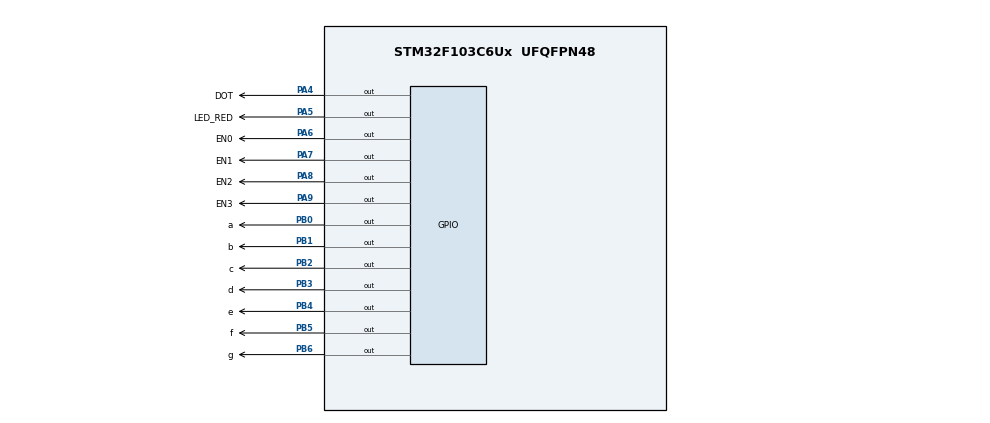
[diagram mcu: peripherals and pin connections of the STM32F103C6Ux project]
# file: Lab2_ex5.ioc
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Mcu.Family=STM32F1
Mcu.Name=STM32F103C6Ux
Mcu.Package=UFQFPN48
NVIC.PriorityGroup=NVIC_PRIORITYGROUP_4
NVIC.TIM2_IRQn=true\:0\:0\:false\:false\:true\:true\:true
PA4.GPIO_Label=DOT
PA4.Signal=GPIO_Output
PA5.GPIO_Label=LED_RED
PA5.Signal=GPIO_Output
PA6.GPIO_Label=EN0
PA6.Signal=GPIO_Output
PA7.GPIO_Label=EN1
PA7.Signal=GPIO_Output
PA8.GPIO_Label=EN2
PA8.Signal=GPIO_Output
PA9.GPIO_Label=EN3
PA9.Signal=GPIO_Output
PB0.GPIO_Label=a
PB0.Signal=GPIO_Output
PB1.GPIO_Label=b
PB1.Signal=GPIO_Output
PB2.GPIO_Label=c
PB2.Signal=GPIO_Output
PB3.GPIO_Label=d
PB3.Signal=GPIO_Output
PB4.GPIO_Label=e
PB4.Signal=GPIO_Output
PB5.GPIO_Label=f
PB5.Signal=GPIO_Output
PB6.GPIO_Label=g
PB6.Signal=GPIO_Output
ProjectManager.HeapSize=0x200
ProjectManager.StackSize=0x400
ProjectManager.TargetToolchain=STM32CubeIDE
RCC.APB1Freq_Value=8000000
RCC.APB2Freq_Value=8000000
TIM2.Period=9
TIM2.Prescaler=7999
VP_SYS_VS_ND.Mode=No_Debug
VP_TIM2_VS_ClockSourceINT.Mode=Internal
board=custom

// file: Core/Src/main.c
/* USER CODE BEGIN Header */
/**
  ******************************************************************************
  * @file           : main.c
  * @brief          : Main program body
  ******************************************************************************
  * @attention
  *
  * <h2><center>&copy; Copyright (c) 2024 STMicroelectronics.
  * All rights reserved.</center></h2>
  *
  * This software component is licensed by ST under BSD 3-Clause license,
  * the "License"; You may not use this file except in compliance with the
  * License. You may obtain a copy of the License at:
  *                        opensource.org/licenses/BSD-3-Clause
  *
  ******************************************************************************
  */
/* USER CODE END Header */
#include "main.h"

TIM_HandleTypeDef htim2;

void SystemClock_Config(void);
static void MX_GPIO_Init(void);
static void MX_TIM2_Init(void);

/* USER CODE BEGIN 0 */
void display7SEG(int num)
{

    if (num == 1)
    {
        HAL_GPIO_WritePin(a_GPIO_Port, a_Pin, GPIO_PIN_SET);
        HAL_GPIO_WritePin(b_GPIO_Port, b_Pin, GPIO_PIN_RESET);
        HAL_GPIO_WritePin(c_GPIO_Port, c_Pin, GPIO_PIN_RESET);
        HAL_GPIO_WritePin(d_GPIO_Port, d_Pin, GPIO_PIN_SET);
        HAL_GPIO_WritePin(e_GPIO_Port, e_Pin, GPIO_PIN_SET);
        HAL_GPIO_WritePin(f_GPIO_Port, f_Pin, GPIO_PIN_SET);
        HAL_GPIO_WritePin(g_GPIO_Port, g_Pin, GPIO_PIN_SET);
    }

    else if (num == 2)
    {
        HAL_GPIO_WritePin(a_GPIO_Port, a_Pin, GPIO_PIN_RESET);
        HAL_GPIO_WritePin(b_GPIO_Port, b_Pin, GPIO_PIN_RESET);
        HAL_GPIO_WritePin(c_GPIO_Port, c_Pin, GPIO_PIN_SET);
        HAL_GPIO_WritePin(d_GPIO_Port, d_Pin, GPIO_PIN_RESET);
        HAL_GPIO_WritePin(e_GPIO_Port, e_Pin, GPIO_PIN_RESET);
        HAL_GPIO_WritePin(f_GPIO_Port, f_Pin, GPIO_PIN_SET);
        HAL_GPIO_WritePin(g_GPIO_Port, g_Pin, GPIO_PIN_RESET);
    }

    else if (num == 3)
    {
        HAL_GPIO_WritePin(a_GPIO_Port, a_Pin, GPIO_PIN_RESET);
        HAL_GPIO_WritePin(b_GPIO_Port, b_Pin, GPIO_PIN_RESET);
        HAL_GPIO_WritePin(c_GPIO_Port, c_Pin, GPIO_PIN_RESET);
        HAL_GPIO_WritePin(d_GPIO_Port, d_Pin, GPIO_PIN_RESET);
        HAL_GPIO_WritePin(e_GPIO_Port, e_Pin, GPIO_PIN_SET);
        HAL_GPIO_WritePin(f_GPIO_Port, f_Pin, GPIO_PIN_SET);
        HAL_GPIO_WritePin(g_GPIO_Port, g_Pin, GPIO_PIN_RESET);
    }

    else if (num == 4)
    {
        HAL_GPIO_WritePin(a_GPIO_Port, a_Pin, GPIO_PIN_SET);
        HAL_GPIO_WritePin(b_GPIO_Port, b_Pin, GPIO_PIN_RESET);
        HAL_GPIO_WritePin(c_GPIO_Port, c_Pin, GPIO_PIN_RESET);
        HAL_GPIO_WritePin(d_GPIO_Port, d_Pin, GPIO_PIN_SET);
        HAL_GPIO_WritePin(e_GPIO_Port, e_Pin, GPIO_PIN_SET);
        HAL_GPIO_WritePin(f_GPIO_Port, f_Pin, GPIO_PIN_RESET);
        HAL_GPIO_WritePin(g_GPIO_Port, g_Pin, GPIO_PIN_RESET);
    }

    else if (num == 5)
    {
        HAL_GPIO_WritePin(a_GPIO_Port, a_Pin, GPIO_PIN_RESET);
        HAL_GPIO_WritePin(b_GPIO_Port, b_Pin, GPIO_PIN_SET);
        HAL_GPIO_WritePin(c_GPIO_Port, c_Pin, GPIO_PIN_RESET);
        HAL_GPIO_WritePin(d_GPIO_Port, d_Pin, GPIO_PIN_RESET);
        HAL_GPIO_WritePin(e_GPIO_Port, e_Pin, GPIO_PIN_SET);
        HAL_GPIO_WritePin(f_GPIO_Port, f_Pin, GPIO_PIN_RESET);
        HAL_GPIO_WritePin(g_GPIO_Port, g_Pin, GPIO_PIN_RESET);
    }

    else if (num == 6)
    {
        HAL_GPIO_WritePin(a_GPIO_Port, a_Pin, GPIO_PIN_RESET);
        HAL_GPIO_WritePin(b_GPIO_Port, b_Pin, GPIO_PIN_SET);
        HAL_GPIO_WritePin(c_GPIO_Port, c_Pin, GPIO_PIN_RESET);
        HAL_GPIO_WritePin(d_GPIO_Port, d_Pin, GPIO_PIN_RESET);
        HAL_GPIO_WritePin(e_GPIO_Port, e_Pin, GPIO_PIN_RESET);
        HAL_GPIO_WritePin(f_GPIO_Port, f_Pin, GPIO_PIN_RESET);
        HAL_GPIO_WritePin(g_GPIO_Port, g_Pin, GPIO_PIN_RESET);
    }

    else if (num == 7)
    {
        HAL_GPIO_WritePin(a_GPIO_Port, a_Pin, GPIO_PIN_RESET);
        HAL_GPIO_WritePin(b_GPIO_Port, b_Pin, GPIO_PIN_RESET);
        HAL_GPIO_WritePin(c_GPIO_Port, c_Pin, GPIO_PIN_RESET);
        HAL_GPIO_WritePin(d_GPIO_Port, d_Pin, GPIO_PIN_SET);
        HAL_GPIO_WritePin(e_GPIO_Port, e_Pin, GPIO_PIN_SET);
        HAL_GPIO_WritePin(f_GPIO_Port, f_Pin, GPIO_PIN_SET);
        HAL_GPIO_WritePin(g_GPIO_Port, g_Pin, GPIO_PIN_SET);
    }

    else if (num == 8)
    {
        HAL_GPIO_WritePin(a_GPIO_Port, a_Pin, GPIO_PIN_RESET);
        HAL_GPIO_WritePin(b_GPIO_Port, b_Pin, GPIO_PIN_RESET);
        HAL_GPIO_WritePin(c_GPIO_Port, c_Pin, GPIO_PIN_RESET);
        HAL_GPIO_WritePin(d_GPIO_Port, d_Pin, GPIO_PIN_RESET);
        HAL_GPIO_WritePin(e_GPIO_Port, e_Pin, GPIO_PIN_RESET);
        HAL_GPIO_WritePin(f_GPIO_Port, f_Pin, GPIO_PIN_RESET);
        HAL_GPIO_WritePin(g_GPIO_Port, g_Pin, GPIO_PIN_RESET);
    }

    else if (num == 9)
    {
        HAL_GPIO_WritePin(a_GPIO_Port, a_Pin, GPIO_PIN_RESET);
        HAL_GPIO_WritePin(b_GPIO_Port, b_Pin, GPIO_PIN_RESET);
        HAL_GPIO_WritePin(c_GPIO_Port, c_Pin, GPIO_PIN_RESET);
        HAL_GPIO_WritePin(d_GPIO_Port, d_Pin, GPIO_PIN_RESET);
        HAL_GPIO_WritePin(e_GPIO_Port, e_Pin, GPIO_PIN_SET);
        HAL_GPIO_WritePin(f_GPIO_Port, f_Pin, GPIO_PIN_RESET);
        HAL_GPIO_WritePin(g_GPIO_Port, g_Pin, GPIO_PIN_RESET);
    }
    else if (num == 0)
    {
        HAL_GPIO_WritePin(a_GPIO_Port, a_Pin, GPIO_PIN_RESET);
        HAL_GPIO_WritePin(b_GPIO_Port, b_Pin, GPIO_PIN_RESET);
        HAL_GPIO_WritePin(c_GPIO_Port, c_Pin, GPIO_PIN_RESET);
        HAL_GPIO_WritePin(d_GPIO_Port, d_Pin, GPIO_PIN_RESET);
        HAL_GPIO_WritePin(e_GPIO_Port, e_Pin, GPIO_PIN_RESET);
        HAL_GPIO_WritePin(f_GPIO_Port, f_Pin, GPIO_PIN_RESET);
        HAL_GPIO_WritePin(g_GPIO_Port, g_Pin, GPIO_PIN_SET);
    }
}
//Ex Code Begin
// Khai báo biến cho Software Timer
int timer0_counter = 0;
int timer0_flag = 0;
int timer1_counter = 0;
int timer1_flag = 0;
int TIMER_CYCLE = 10;

// Khởi tạo timer0 để điều khiển LED
void setTimer0(int duration) {
    timer0_counter = duration / TIMER_CYCLE;
    timer0_flag = 0;
}
void timer_run0() {
    if (timer0_counter > 0) {
        timer0_counter--;
        if (timer0_counter == 0) timer0_flag = 1;
    }
}

// Khởi tạo timer1 để cập nhật giá trị giờ, phút, giây và chấm DOT
void setTimer1(int duration) {
    timer1_counter = duration / TIMER_CYCLE;
    timer1_flag = 0;
}
void timer_run1() {
    if (timer1_counter > 0) {
        timer1_counter--;
        if (timer1_counter == 0) timer1_flag = 1;
    }
}
/* USER CODE END 0 */
//Ex5
#define MAX_LED 4
int led_buffer[MAX_LED] = {0, 0, 0, 0}; // Array to hold the values to be displayed

int hour = 7, minute = 8, second = 50; // Declare hour, minute, second globally

void updateClockBuffer() {
    led_buffer[0] = hour / 10;    // Tens digit of hour
    led_buffer[1] = hour % 10;    // Units digit of hour
    led_buffer[2] = minute / 10;  // Tens digit of minute
    led_buffer[3] = minute % 10;  // Units digit of minute
}

int index_led = 0;
void update7SEG ( int index )
{
	switch ( index )
	{
		case 0:
			HAL_GPIO_WritePin ( EN0_GPIO_Port , EN0_Pin ,GPIO_PIN_RESET );
			HAL_GPIO_WritePin ( EN1_GPIO_Port , EN1_Pin ,GPIO_PIN_SET );
			HAL_GPIO_WritePin ( EN2_GPIO_Port , EN2_Pin ,GPIO_PIN_SET );
			HAL_GPIO_WritePin ( EN3_GPIO_Port , EN3_Pin ,GPIO_PIN_SET );
			display7SEG(led_buffer [0]);
			break;
		case 1:
			HAL_GPIO_WritePin ( EN0_GPIO_Port , EN0_Pin ,GPIO_PIN_SET );
			HAL_GPIO_WritePin ( EN1_GPIO_Port , EN1_Pin ,GPIO_PIN_RESET );
			HAL_GPIO_WritePin ( EN2_GPIO_Port , EN2_Pin ,GPIO_PIN_SET );
			HAL_GPIO_WritePin ( EN3_GPIO_Port , EN3_Pin ,GPIO_PIN_SET );
			display7SEG(led_buffer [1]);
			break;
		case 2:
			HAL_GPIO_WritePin ( EN0_GPIO_Port , EN0_Pin ,GPIO_PIN_SET );
			HAL_GPIO_WritePin ( EN1_GPIO_Port , EN1_Pin ,GPIO_PIN_SET );
			HAL_GPIO_WritePin ( EN2_GPIO_Port , EN2_Pin ,GPIO_PIN_RESET );
			HAL_GPIO_WritePin ( EN3_GPIO_Port , EN3_Pin ,GPIO_PIN_SET );
			display7SEG(led_buffer [2]);
			break;
		case 3:
			HAL_GPIO_WritePin ( EN0_GPIO_Port , EN0_Pin ,GPIO_PIN_SET );
			HAL_GPIO_WritePin ( EN1_GPIO_Port , EN1_Pin ,GPIO_PIN_SET );
			HAL_GPIO_WritePin ( EN2_GPIO_Port , EN2_Pin ,GPIO_PIN_SET );
			HAL_GPIO_WritePin ( EN3_GPIO_Port , EN3_Pin ,GPIO_PIN_RESET );
			display7SEG(led_buffer [3]);
			break;
	}
}

int main(void)
{

  /* MCU Configuration--------------------------------------------------------*/

  /* Reset of all peripherals, Initializes the Flash interface and the Systick. */
  HAL_Init();

  /* Configure the system clock */
  SystemClock_Config();

  /* Initialize all configured peripherals */
  MX_GPIO_Init();
  MX_TIM2_Init();
  HAL_TIM_Base_Start_IT(&htim2);
  /* Infinite loop */
  /* USER CODE BEGIN WHILE */
  setTimer0(1000);
  setTimer1(250);  // 1 giây để cập nhật đồng hồ
  while (1)
  {
	  //CODE EX5 BEGIN
      // Xử lý cho timer1 - cập nhật giá trị giờ, phút, giây và DOT
      if (timer1_flag == 1) {
	  second++;
		      if (second >= 60) {
		          second = 0;
		          minute++;
		      }
		      if (minute >= 60) {
		          minute = 0;
		          hour++;
		      }
		      if (hour >= 24) {
		          hour = 0;
		      }
		      updateClockBuffer();
		      HAL_GPIO_TogglePin(DOT_GPIO_Port, DOT_Pin);
		      // Cập nhật LED 7 đoạn hiện tại
		      update7SEG(index_led);
		          index_led++;
		          if (index_led >= MAX_LED) {
		              index_led = 0;  // Quay lại LED đầu tiên
		      }
		          setTimer1(250);
		      }

    /* USER CODE END WHILE */
	    if (timer0_flag == 1) {
	        HAL_GPIO_TogglePin(LED_RED_GPIO_Port, LED_RED_Pin);
	        setTimer0(1000);
	    }
  }
}
/* USER CODE BEGIN 4 */
void HAL_TIM_PeriodElapsedCallback(TIM_HandleTypeDef *htim) {
    timer_run0();  // Đếm thời gian cho timer0
    timer_run1();  // Đếm thời gian cho timer1
}
 /* USER CODE END 4 */
void SystemClock_Config(void)
{
  RCC_OscInitTypeDef RCC_OscInitStruct = {0};
  RCC_ClkInitTypeDef RCC_ClkInitStruct = {0};

  /** Initializes the RCC Oscillators according to the specified parameters
  * in the RCC_OscInitTypeDef structure.
  */
  RCC_OscInitStruct.OscillatorType = RCC_OSCILLATORTYPE_HSI;
  RCC_OscInitStruct.HSIState = RCC_HSI_ON;
  RCC_OscInitStruct.HSICalibrationValue = RCC_HSICALIBRATION_DEFAULT;
  RCC_OscInitStruct.PLL.PLLState = RCC_PLL_NONE;
  if (HAL_RCC_OscConfig(&RCC_OscInitStruct) != HAL_OK)
  {
    Error_Handler();
  }
  /** Initializes the CPU, AHB and APB buses clocks
  */
  RCC_ClkInitStruct.ClockType = RCC_CLOCKTYPE_HCLK|RCC_CLOCKTYPE_SYSCLK
                              |RCC_CLOCKTYPE_PCLK1|RCC_CLOCKTYPE_PCLK2;
  RCC_ClkInitStruct.SYSCLKSource = RCC_SYSCLKSOURCE_HSI;
  RCC_ClkInitStruct.AHBCLKDivider = RCC_SYSCLK_DIV1;
  RCC_ClkInitStruct.APB1CLKDivider = RCC_HCLK_DIV1;
  RCC_ClkInitStruct.APB2CLKDivider = RCC_HCLK_DIV1;

  if (HAL_RCC_ClockConfig(&RCC_ClkInitStruct, FLASH_LATENCY_0) != HAL_OK)
  {
    Error_Handler();
  }
}

static void MX_TIM2_Init(void)
{

  TIM_ClockConfigTypeDef sClockSourceConfig = {0};
  TIM_MasterConfigTypeDef sMasterConfig = {0};

  htim2.Instance = TIM2;
  htim2.Init.Prescaler = 7999;
  htim2.Init.CounterMode = TIM_COUNTERMODE_UP;
  htim2.Init.Period = 9;
  htim2.Init.ClockDivision = TIM_CLOCKDIVISION_DIV1;
  htim2.Init.AutoReloadPreload = TIM_AUTORELOAD_PRELOAD_DISABLE;
  if (HAL_TIM_Base_Init(&htim2) != HAL_OK)
  {
    Error_Handler();
  }
  sClockSourceConfig.ClockSource = TIM_CLOCKSOURCE_INTERNAL;
  if (HAL_TIM_ConfigClockSource(&htim2, &sClockSourceConfig) != HAL_OK)
  {
    Error_Handler();
  }
  sMasterConfig.MasterOutputTrigger = TIM_TRGO_RESET;
  sMasterConfig.MasterSlaveMode = TIM_MASTERSLAVEMODE_DISABLE;
  if (HAL_TIMEx_MasterConfigSynchronization(&htim2, &sMasterConfig) != HAL_OK)
  {
    Error_Handler();
  }

}

static void MX_GPIO_Init(void)
{
  GPIO_InitTypeDef GPIO_InitStruct = {0};

  /* GPIO Ports Clock Enable */
  __HAL_RCC_GPIOA_CLK_ENABLE();
  __HAL_RCC_GPIOB_CLK_ENABLE();

  /*Configure GPIO pin Output Level */
  HAL_GPIO_WritePin(GPIOA, DOT_Pin|LED_RED_Pin|EN0_Pin|EN1_Pin
                          |EN2_Pin|EN3_Pin, GPIO_PIN_RESET);

  /*Configure GPIO pin Output Level */
  HAL_GPIO_WritePin(GPIOB, a_Pin|b_Pin|c_Pin|d_Pin
                          |e_Pin|f_Pin|g_Pin, GPIO_PIN_RESET);

  /*Configure GPIO pins : DOT_Pin LED_RED_Pin EN0_Pin EN1_Pin
                           EN2_Pin EN3_Pin */
  GPIO_InitStruct.Pin = DOT_Pin|LED_RED_Pin|EN0_Pin|EN1_Pin
                          |EN2_Pin|EN3_Pin;
  GPIO_InitStruct.Mode = GPIO_MODE_OUTPUT_PP;
  GPIO_InitStruct.Pull = GPIO_NOPULL;
  GPIO_InitStruct.Speed = GPIO_SPEED_FREQ_LOW;
  HAL_GPIO_Init(GPIOA, &GPIO_InitStruct);

  /*Configure GPIO pins : a_Pin b_Pin c_Pin d_Pin
                           e_Pin f_Pin g_Pin */
  GPIO_InitStruct.Pin = a_Pin|b_Pin|c_Pin|d_Pin
                          |e_Pin|f_Pin|g_Pin;
  GPIO_InitStruct.Mode = GPIO_MODE_OUTPUT_PP;
  GPIO_InitStruct.Pull = GPIO_NOPULL;
  GPIO_InitStruct.Speed = GPIO_SPEED_FREQ_LOW;
  HAL_GPIO_Init(GPIOB, &GPIO_InitStruct);

}

void Error_Handler(void)
{
  __disable_irq();
  while (1)
  {
  }
}

/************************ (C) COPYRIGHT STMicroelectronics *****END OF FILE****/
